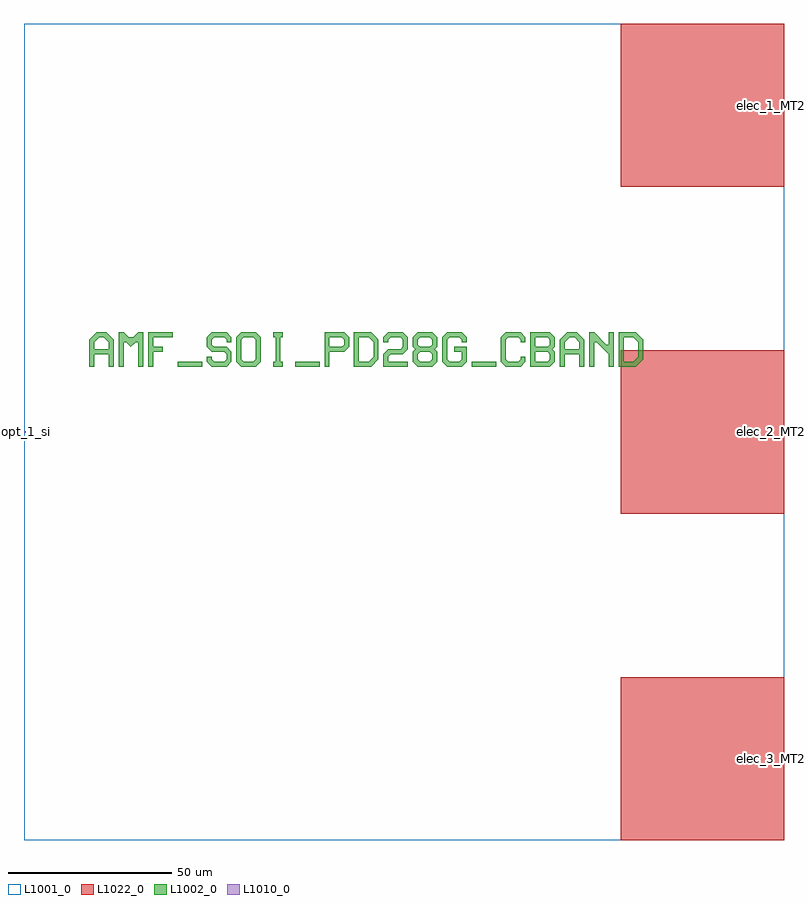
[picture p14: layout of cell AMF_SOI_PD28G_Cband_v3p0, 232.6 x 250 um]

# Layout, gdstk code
import gdstk
lib = gdstk.Library(unit=1e-6, precision=1e-09)
def R(c, l, rs):  # rectangles x0, y0, x1, y1
    for r in rs: c.add(gdstk.rectangle(r[:2], r[2:], *l))
def A(c, l, x, y, w, h, nx, ny, dx, dy):  # array of equal rectangles
    R(c, l, [(x+i*dx, y+j*dy, x+i*dx+w, y+j*dy+h) for i in range(nx) for j in range(ny)])
def P(c, l, *ps):  # polygons
    for p in ps: c.add(gdstk.Polygon(p, *l))
L1001_0 = (1001, 0)
L1002_0 = (1002, 0)
L1010_0 = (1010, 0)
L1022_0 = (1022, 0)

amf_soi_pd28g_cband_v3p0 = lib.new_cell('AMF_SOI_PD28G_Cband_v3p0')
R(amf_soi_pd28g_cband_v3p0, L1001_0, [(0,-125,232.6,125)])
R(amf_soi_pd28g_cband_v3p0, L1002_0, [(46.983,20.021,54.483,21.521), (82.983,20.021,90.483,21.521), (136.983,20.021,144.483,21.521)])
P(amf_soi_pd28g_cband_v3p0, L1002_0, [(19.983,20.021),(19.983,28.271),(22.233,30.521),(25.233,30.521),(26.733,29.021),(22.983,29.021),(21.483,27.521),(21.483,25.271),(25.983,25.271),(25.983,27.521),(24.483,29.021),(26.733,29.021),(27.483,28.271),(27.483,20.021),(25.983,20.021),(25.983,23.771),(21.483,23.771),(21.483,20.021)],
  [(28.983,20.021),(28.983,30.521),(30.483,30.521),(31.983,29.021),(33.483,29.021),(34.983,30.521),(36.483,30.521),(36.483,20.021),(34.983,20.021),(34.983,27.521),(34.233,27.521),(32.733,26.021),(31.233,27.521),(30.483,27.521),(30.483,20.021)],
  [(37.983,20.021),(37.983,30.521),(45.483,30.521),(45.483,29.021),(39.483,29.021),(39.483,26.021),(42.483,26.021),(42.483,24.521),(39.483,24.521),(39.483,20.021)],
  [(57.483,20.021),(55.983,21.521),(55.983,23.021),(57.483,23.021),(57.483,22.271),(58.233,21.521),(61.233,21.521),(61.983,22.271),(61.983,23.771),(61.233,24.521),(57.483,24.521),(55.983,26.021),(55.983,29.021),(57.483,30.521),(61.983,30.521),(63.483,29.021),(63.483,27.521),(61.983,27.521),(61.983,28.271),(61.233,29.021),(58.233,29.021),(57.483,28.271),(57.483,26.771),(58.233,26.021),(61.983,26.021),(63.483,24.521),(63.483,21.521),(61.983,20.021)],
  [(66.483,20.021),(64.983,21.521),(64.983,29.021),(66.483,30.521),(70.983,30.521),(72.483,29.021),(72.483,25.271),(70.983,25.271),(70.983,28.271),(70.233,29.021),(67.233,29.021),(66.483,28.271),(66.483,22.271),(67.233,21.521),(70.233,21.521),(70.983,22.271),(70.983,25.271),(72.483,25.271),(72.483,21.521),(70.983,20.021)],
  [(76.233,20.021),(76.233,21.521),(76.983,21.521),(76.983,29.021),(76.233,29.021),(76.233,30.521),(79.233,30.521),(79.233,29.021),(78.483,29.021),(78.483,21.521),(79.233,21.521),(79.233,20.021)],
  [(91.983,20.021),(91.983,30.521),(97.983,30.521),(99.483,29.021),(99.483,26.021),(97.983,24.521),(93.483,24.521),(93.483,26.021),(97.233,26.021),(97.983,26.771),(97.983,28.271),(97.233,29.021),(93.483,29.021),(93.483,20.021)],
  [(100.983,20.021),(100.983,30.521),(106.233,30.521),(107.733,29.021),(102.483,29.021),(102.483,21.521),(105.483,21.521),(106.983,23.021),(106.983,27.521),(105.483,29.021),(107.733,29.021),(108.483,28.271),(108.483,22.271),(106.233,20.021)],
  [(109.983,20.021),(109.983,23.771),(111.483,25.271),(115.233,25.271),(115.983,26.021),(115.983,28.271),(115.233,29.021),(112.233,29.021),(111.483,28.271),(111.483,27.521),(109.983,27.521),(109.983,29.021),(111.483,30.521),(115.983,30.521),(117.483,29.021),(117.483,25.271),(115.983,23.771),(112.233,23.771),(111.483,23.021),(111.483,21.521),(117.483,21.521),(117.483,20.021)],
  [(120.483,20.021),(118.983,21.521),(118.983,24.521),(119.733,25.271),(118.983,26.021),(118.983,29.021),(120.483,30.521),(124.983,30.521),(126.483,29.021),(121.233,29.021),(120.483,28.271),(120.483,26.771),(121.233,26.021),(124.233,26.021),(124.983,26.771),(124.983,28.271),(124.233,29.021),(126.483,29.021),(126.483,26.021),(125.733,25.271),(126.483,24.521),(121.233,24.521),(120.483,23.771),(120.483,22.271),(121.233,21.521),(124.233,21.521),(124.983,22.271),(124.983,23.771),(124.233,24.521),(126.483,24.521),(126.483,21.521),(124.983,20.021)],
  [(129.483,20.021),(127.983,21.521),(127.983,29.021),(129.483,30.521),(133.983,30.521),(135.483,29.021),(135.483,27.521),(133.983,27.521),(133.983,28.271),(133.233,29.021),(130.233,29.021),(129.483,28.271),(129.483,22.271),(130.233,21.521),(133.233,21.521),(133.983,22.271),(133.983,24.521),(131.733,24.521),(131.733,26.021),(135.483,26.021),(135.483,21.521),(133.983,20.021)],
  [(147.483,20.021),(145.983,21.521),(145.983,29.021),(147.483,30.521),(151.983,30.521),(153.483,29.021),(153.483,27.521),(151.983,27.521),(151.983,28.271),(151.233,29.021),(148.233,29.021),(147.483,28.271),(147.483,22.271),(148.233,21.521),(151.233,21.521),(151.983,22.271),(151.983,23.021),(153.483,23.021),(153.483,21.521),(151.983,20.021)],
  [(154.983,20.021),(154.983,30.521),(160.983,30.521),(162.483,29.021),(156.483,29.021),(156.483,26.021),(160.233,26.021),(160.983,26.771),(160.983,28.271),(160.233,29.021),(162.483,29.021),(162.483,26.021),(161.733,25.271),(162.483,24.521),(156.483,24.521),(156.483,21.521),(160.233,21.521),(160.983,22.271),(160.983,23.771),(160.233,24.521),(162.483,24.521),(162.483,21.521),(160.983,20.021)],
  [(163.983,20.021),(163.983,28.271),(166.233,30.521),(169.233,30.521),(170.733,29.021),(166.983,29.021),(165.483,27.521),(165.483,25.271),(169.983,25.271),(169.983,27.521),(168.483,29.021),(170.733,29.021),(171.483,28.271),(171.483,20.021),(169.983,20.021),(169.983,23.771),(165.483,23.771),(165.483,20.021)],
  [(172.983,20.021),(172.983,30.521),(174.483,30.521),(178.233,26.771),(178.983,26.771),(178.983,30.521),(180.483,30.521),(180.483,20.021),(178.983,20.021),(178.983,23.771),(175.233,27.521),(174.483,27.521),(174.483,20.021)],
  [(181.983,20.021),(181.983,30.521),(187.233,30.521),(188.733,29.021),(183.483,29.021),(183.483,21.521),(186.483,21.521),(187.983,23.021),(187.983,27.521),(186.483,29.021),(188.733,29.021),(189.483,28.271),(189.483,22.271),(187.233,20.021)])
R(amf_soi_pd28g_cband_v3p0, L1010_0, [(0,-0.25,0.5,0.25)])
A(amf_soi_pd28g_cband_v3p0, L1022_0, 182.6, -125, 50, 50, 1, 3, 0, 100)
amf_soi_pd28g_cband_v3p0.add(gdstk.Label('opt_1_si', (0,0), layer=1010, texttype=0))
amf_soi_pd28g_cband_v3p0.add(gdstk.Label('elec_1_MT2', (232.6,100), layer=1022, texttype=0))
amf_soi_pd28g_cband_v3p0.add(gdstk.Label('elec_2_MT2', (232.6,0), layer=1022, texttype=0))
amf_soi_pd28g_cband_v3p0.add(gdstk.Label('elec_3_MT2', (232.6,-100), layer=1022, texttype=0))

lib.write_gds('AMF_SOI_PD28G_Cband_v3p0.gds')
